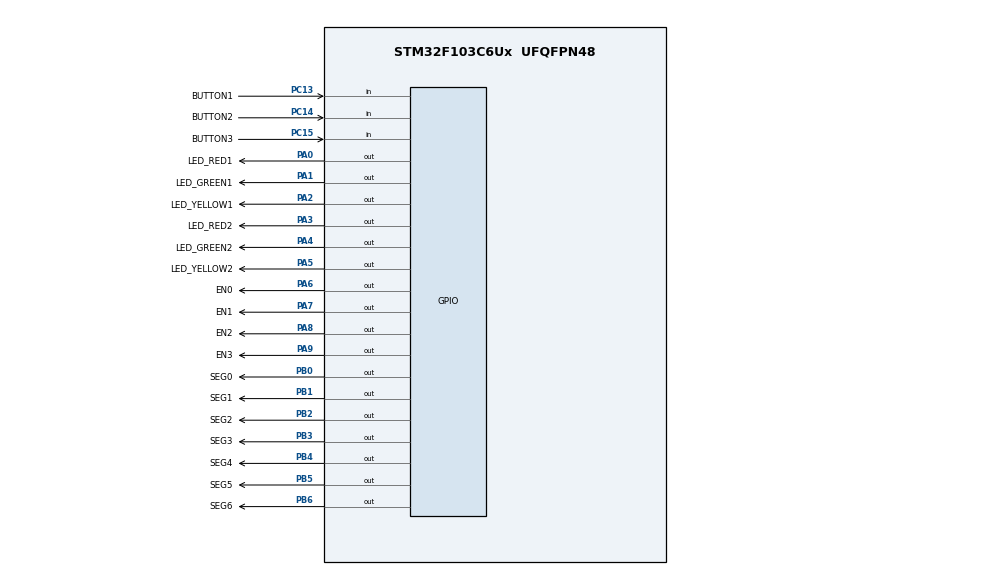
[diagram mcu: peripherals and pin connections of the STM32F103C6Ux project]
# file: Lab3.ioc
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Mcu.Family=STM32F1
Mcu.Name=STM32F103C6Ux
Mcu.Package=UFQFPN48
NVIC.PriorityGroup=NVIC_PRIORITYGROUP_4
NVIC.TIM2_IRQn=true\:0\:0\:false\:false\:true\:true\:true
PA0-WKUP.GPIO_Label=LED_RED1
PA0-WKUP.Signal=GPIO_Output
PA1.GPIO_Label=LED_GREEN1
PA1.Signal=GPIO_Output
PA2.GPIO_Label=LED_YELLOW1
PA2.Signal=GPIO_Output
PA3.GPIO_Label=LED_RED2
PA3.Signal=GPIO_Output
PA4.GPIO_Label=LED_GREEN2
PA4.Signal=GPIO_Output
PA5.GPIO_Label=LED_YELLOW2
PA5.Signal=GPIO_Output
PA6.GPIO_Label=EN0
PA6.Signal=GPIO_Output
PA7.GPIO_Label=EN1
PA7.Signal=GPIO_Output
PA8.GPIO_Label=EN2
PA8.Signal=GPIO_Output
PA9.GPIO_Label=EN3
PA9.Signal=GPIO_Output
PB0.GPIO_Label=SEG0
PB0.Signal=GPIO_Output
PB1.GPIO_Label=SEG1
PB1.Signal=GPIO_Output
PB2.GPIO_Label=SEG2
PB2.Signal=GPIO_Output
PB3.GPIO_Label=SEG3
PB3.Signal=GPIO_Output
PB4.GPIO_Label=SEG4
PB4.Signal=GPIO_Output
PB5.GPIO_Label=SEG5
PB5.Signal=GPIO_Output
PB6.GPIO_Label=SEG6
PB6.Signal=GPIO_Output
PC13-TAMPER-RTC.GPIO_Label=BUTTON1
PC13-TAMPER-RTC.GPIO_PuPd=GPIO_PULLUP
PC13-TAMPER-RTC.Signal=GPIO_Input
PC14-OSC32_IN.GPIO_Label=BUTTON2
PC14-OSC32_IN.GPIO_PuPd=GPIO_PULLUP
PC14-OSC32_IN.Signal=GPIO_Input
PC15-OSC32_OUT.GPIO_Label=BUTTON3
PC15-OSC32_OUT.GPIO_PuPd=GPIO_PULLUP
PC15-OSC32_OUT.Signal=GPIO_Input
ProjectManager.HeapSize=0x200
ProjectManager.StackSize=0x400
ProjectManager.TargetToolchain=STM32CubeIDE
RCC.APB1Freq_Value=8000000
RCC.APB2Freq_Value=8000000
TIM2.Period=9
TIM2.Prescaler=7999
VP_SYS_VS_ND.Mode=No_Debug
VP_TIM2_VS_ClockSourceINT.Mode=Internal
board=custom

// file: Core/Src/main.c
/* USER CODE BEGIN Header */
/**
  ******************************************************************************
  * @file           : main.c
  * @brief          : Main program body
  ******************************************************************************
  * @attention
  *
  * <h2><center>&copy; Copyright (c) 2023 STMicroelectronics.
  * All rights reserved.</center></h2>
  *
  * This software component is licensed by ST under BSD 3-Clause license,
  * the "License"; You may not use this file except in compliance with the
  * License. You may obtain a copy of the License at:
  *                        opensource.org/licenses/BSD-3-Clause
  *
  ******************************************************************************
  */
/* USER CODE END Header */
#include "main.h"

/* USER CODE BEGIN Includes */
#include "software_timer.h"
#include "button.h"
#include "fsm_automatic.h"
#include "fsm_manual.h"
/* USER CODE END Includes */

TIM_HandleTypeDef htim2;

void SystemClock_Config(void);
static void MX_TIM2_Init(void);
static void MX_GPIO_Init(void);

int main(void)
{

  /* MCU Configuration--------------------------------------------------------*/

  /* Reset of all peripherals, Initializes the Flash interface and the Systick. */
  HAL_Init();

  /* Configure the system clock */
  SystemClock_Config();

  /* Initialize all configured peripherals */
  MX_TIM2_Init();
  MX_GPIO_Init();
  /* USER CODE BEGIN 2 */
  HAL_TIM_Base_Start_IT(&htim2);
  /* USER CODE END 2 */

  /* Infinite loop */
  /* USER CODE BEGIN WHILE */
  status = INIT;
  setTimer(250, 1);
  while (1)
  {
	  fsm_automatic_run();
	  fsm_manual_run();
	  if (timer_flag[1] == 1){
		  setTimer(250, 1);
		  update7SEG(index_led);
		  index_led = (index_led + 1) % MAX_LED;
	  }
    /* USER CODE END WHILE */

  }
}

void SystemClock_Config(void)
{
  RCC_OscInitTypeDef RCC_OscInitStruct = {0};
  RCC_ClkInitTypeDef RCC_ClkInitStruct = {0};

  /** Initializes the RCC Oscillators according to the specified parameters
  * in the RCC_OscInitTypeDef structure.
  */
  RCC_OscInitStruct.OscillatorType = RCC_OSCILLATORTYPE_HSI;
  RCC_OscInitStruct.HSIState = RCC_HSI_ON;
  RCC_OscInitStruct.HSICalibrationValue = RCC_HSICALIBRATION_DEFAULT;
  RCC_OscInitStruct.PLL.PLLState = RCC_PLL_NONE;
  if (HAL_RCC_OscConfig(&RCC_OscInitStruct) != HAL_OK)
  {
    Error_Handler();
  }
  /** Initializes the CPU, AHB and APB buses clocks
  */
  RCC_ClkInitStruct.ClockType = RCC_CLOCKTYPE_HCLK|RCC_CLOCKTYPE_SYSCLK
                              |RCC_CLOCKTYPE_PCLK1|RCC_CLOCKTYPE_PCLK2;
  RCC_ClkInitStruct.SYSCLKSource = RCC_SYSCLKSOURCE_HSI;
  RCC_ClkInitStruct.AHBCLKDivider = RCC_SYSCLK_DIV1;
  RCC_ClkInitStruct.APB1CLKDivider = RCC_HCLK_DIV1;
  RCC_ClkInitStruct.APB2CLKDivider = RCC_HCLK_DIV1;

  if (HAL_RCC_ClockConfig(&RCC_ClkInitStruct, FLASH_LATENCY_0) != HAL_OK)
  {
    Error_Handler();
  }
}

static void MX_TIM2_Init(void)
{

  TIM_ClockConfigTypeDef sClockSourceConfig = {0};
  TIM_MasterConfigTypeDef sMasterConfig = {0};

  htim2.Instance = TIM2;
  htim2.Init.Prescaler = 7999;
  htim2.Init.CounterMode = TIM_COUNTERMODE_UP;
  htim2.Init.Period = 9;
  htim2.Init.ClockDivision = TIM_CLOCKDIVISION_DIV1;
  htim2.Init.AutoReloadPreload = TIM_AUTORELOAD_PRELOAD_DISABLE;
  if (HAL_TIM_Base_Init(&htim2) != HAL_OK)
  {
    Error_Handler();
  }
  sClockSourceConfig.ClockSource = TIM_CLOCKSOURCE_INTERNAL;
  if (HAL_TIM_ConfigClockSource(&htim2, &sClockSourceConfig) != HAL_OK)
  {
    Error_Handler();
  }
  sMasterConfig.MasterOutputTrigger = TIM_TRGO_RESET;
  sMasterConfig.MasterSlaveMode = TIM_MASTERSLAVEMODE_DISABLE;
  if (HAL_TIMEx_MasterConfigSynchronization(&htim2, &sMasterConfig) != HAL_OK)
  {
    Error_Handler();
  }

}

static void MX_GPIO_Init(void)
{
  GPIO_InitTypeDef GPIO_InitStruct = {0};

  /* GPIO Ports Clock Enable */
  __HAL_RCC_GPIOC_CLK_ENABLE();
  __HAL_RCC_GPIOA_CLK_ENABLE();
  __HAL_RCC_GPIOB_CLK_ENABLE();

  /*Configure GPIO pin Output Level */
  HAL_GPIO_WritePin(GPIOA, LED_RED1_Pin|LED_GREEN1_Pin|LED_YELLOW1_Pin|LED_RED2_Pin
                          |LED_GREEN2_Pin|LED_YELLOW2_Pin|EN0_Pin|EN1_Pin
                          |EN2_Pin|EN3_Pin, GPIO_PIN_RESET);

  /*Configure GPIO pin Output Level */
  HAL_GPIO_WritePin(GPIOB, SEG0_Pin|SEG1_Pin|SEG2_Pin|SEG3_Pin
                          |SEG4_Pin|SEG5_Pin|SEG6_Pin, GPIO_PIN_RESET);

  /*Configure GPIO pins : BUTTON1_Pin BUTTON2_Pin BUTTON3_Pin */
  GPIO_InitStruct.Pin = BUTTON1_Pin|BUTTON2_Pin|BUTTON3_Pin;
  GPIO_InitStruct.Mode = GPIO_MODE_INPUT;
  GPIO_InitStruct.Pull = GPIO_PULLUP;
  HAL_GPIO_Init(GPIOC, &GPIO_InitStruct);

  /*Configure GPIO pins : LED_RED1_Pin LED_GREEN1_Pin LED_YELLOW1_Pin LED_RED2_Pin
                           LED_GREEN2_Pin LED_YELLOW2_Pin EN0_Pin EN1_Pin
                           EN2_Pin EN3_Pin */
  GPIO_InitStruct.Pin = LED_RED1_Pin|LED_GREEN1_Pin|LED_YELLOW1_Pin|LED_RED2_Pin
                          |LED_GREEN2_Pin|LED_YELLOW2_Pin|EN0_Pin|EN1_Pin
                          |EN2_Pin|EN3_Pin;
  GPIO_InitStruct.Mode = GPIO_MODE_OUTPUT_PP;
  GPIO_InitStruct.Pull = GPIO_NOPULL;
  GPIO_InitStruct.Speed = GPIO_SPEED_FREQ_LOW;
  HAL_GPIO_Init(GPIOA, &GPIO_InitStruct);

  /*Configure GPIO pins : SEG0_Pin SEG1_Pin SEG2_Pin SEG3_Pin
                           SEG4_Pin SEG5_Pin SEG6_Pin */
  GPIO_InitStruct.Pin = SEG0_Pin|SEG1_Pin|SEG2_Pin|SEG3_Pin
                          |SEG4_Pin|SEG5_Pin|SEG6_Pin;
  GPIO_InitStruct.Mode = GPIO_MODE_OUTPUT_PP;
  GPIO_InitStruct.Pull = GPIO_NOPULL;
  GPIO_InitStruct.Speed = GPIO_SPEED_FREQ_LOW;
  HAL_GPIO_Init(GPIOB, &GPIO_InitStruct);

}

/* USER CODE BEGIN 4 */
void HAL_TIM_PeriodElapsedCallback(TIM_HandleTypeDef *htim){
	timerRun();
	getKeyInput();
}
/* USER CODE END 4 */

void Error_Handler(void)
{
  __disable_irq();
  while (1)
  {
  }
}

/************************ (C) COPYRIGHT STMicroelectronics *****END OF FILE****/
